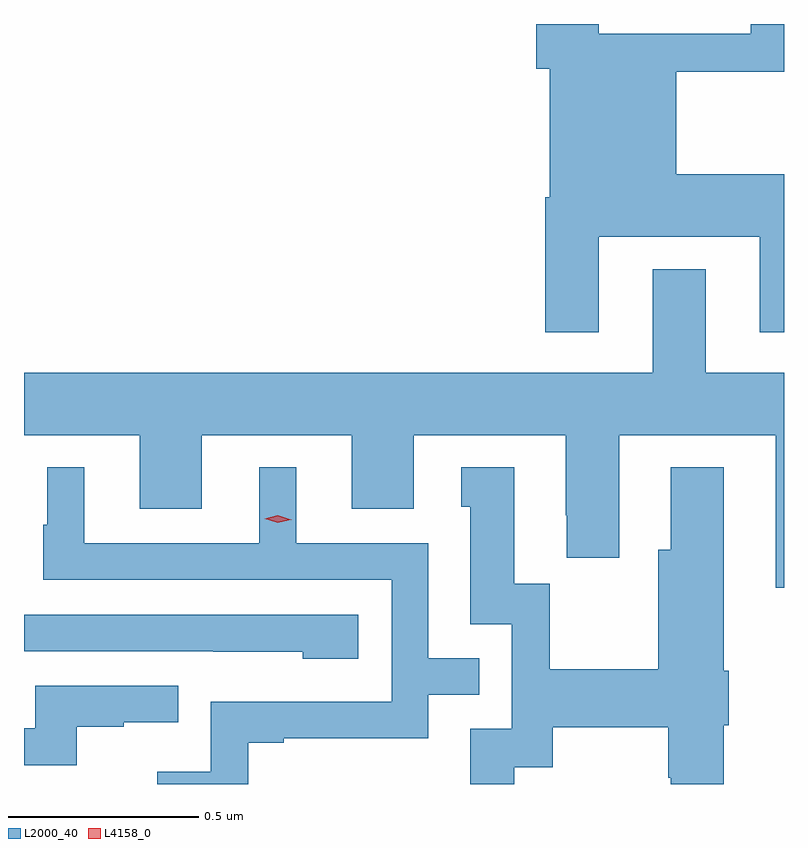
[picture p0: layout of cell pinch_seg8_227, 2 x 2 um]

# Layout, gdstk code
import gdstk
lib = gdstk.Library(unit=1e-6, precision=1e-09)
def P(c, l, *ps):  # polygons
    for p in ps: c.add(gdstk.Polygon(p, *l))
L2000_40 = (2000, 40)
L4158_0 = (4158, 0)

pinch_seg8_227 = lib.new_cell('pinch_seg8_227')
P(pinch_seg8_227, L2000_40, [(696.109,1114.358),(696.533,1114.358),(696.533,1114.107),(696.597,1114.107),(696.597,1114.522),(696.313,1114.522),(696.313,1114.792),(696.597,1114.792),(696.597,1114.918),(696.509,1114.918),(696.509,1114.893),(696.109,1114.893),(696.109,1114.918),(695.945,1114.918),(695.945,1114.8),(695.981,1114.8),(695.981,1114.462),(695.969,1114.462),(695.969,1114.107),(696.109,1114.107)],
  [(696.597,1114),(696.391,1114),(696.391,1114.273),(696.251,1114.273),(696.251,1114),(694.597,1114),(694.597,1113.836),(694.901,1113.836),(694.901,1113.642),(695.065,1113.642),(695.065,1113.836),(695.459,1113.836),(695.459,1113.642),(695.623,1113.642),(695.623,1113.836),(696.023,1113.836),(696.023,1113.625),(696.025,1113.625),(696.025,1113.513),(696.163,1113.513),(696.163,1113.836),(696.575,1113.836),(696.575,1113.435),(696.597,1113.435)],
  [(695.187,1113.027),(695.281,1113.027),(695.281,1113.039),(695.661,1113.039),(695.661,1113.153),(695.795,1113.153),(695.795,1113.249),(695.661,1113.249),(695.661,1113.552),(695.314,1113.552),(695.314,1113.751),(695.216,1113.751),(695.216,1113.552),(694.756,1113.552),(694.756,1113.751),(694.658,1113.751),(694.658,1113.6),(694.647,1113.6),(694.647,1113.456),(695.565,1113.456),(695.565,1113.135),(695.088,1113.135),(695.088,1112.95),(694.947,1112.95),(694.947,1112.918),(695.187,1112.918)],
  [(695.887,1112.962),(695.989,1112.962),(695.989,1113.068),(696.292,1113.068),(696.292,1112.934),(696.299,1112.934),(696.299,1112.918),(696.439,1112.918),(696.439,1113.072),(696.452,1113.072),(696.452,1113.216),(696.439,1113.216),(696.439,1113.751),(696.299,1113.751),(696.299,1113.535),(696.266,1113.535),(696.266,1113.22),(695.98,1113.22),(695.98,1113.445),(695.887,1113.445),(695.887,1113.751),(695.747,1113.751),(695.747,1113.648),(695.771,1113.648),(695.771,1113.339),(695.88,1113.339),(695.88,1113.063),(695.771,1113.063),(695.771,1112.918),(695.887,1112.918)],
  [(695.476,1113.363),(694.597,1113.363),(694.597,1113.267),(695.095,1113.267),(695.095,1113.266),(695.331,1113.266),(695.331,1113.248),(695.476,1113.248)],
  [(694.736,1113.069),(694.859,1113.069),(694.859,1113.08),(695.003,1113.08),(695.003,1113.177),(694.626,1113.177),(694.626,1113.065),(694.597,1113.065),(694.597,1112.967),(694.736,1112.967)])
P(pinch_seg8_227, L4158_0, [(695.265,1113.605),(695.23,1113.616),(695.229,1113.616),(695.23,1113.616),(695.265,1113.625),(695.3,1113.614),(695.301,1113.614),(695.3,1113.614)])

lib.write_gds('pinch_seg8_227.gds')
